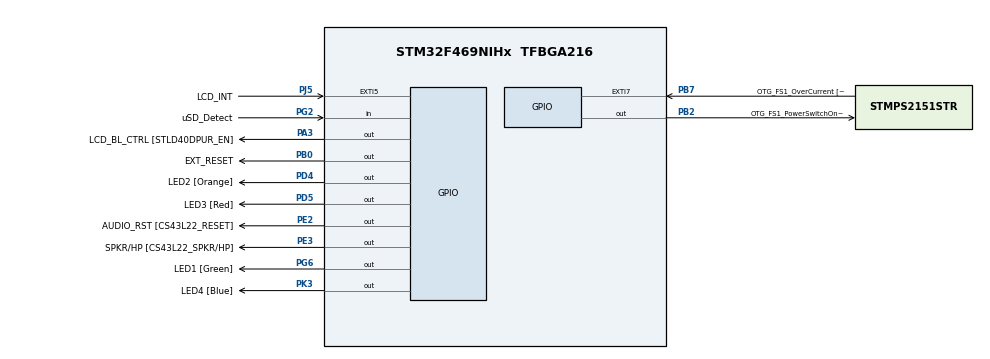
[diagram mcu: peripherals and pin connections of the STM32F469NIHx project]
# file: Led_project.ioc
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DSIHOST_CKN.GPIO_Label=DSI_CK_N
DSIHOST_CKN.Signal=DSIHOST_CKN
DSIHOST_CKP.GPIO_Label=DSI_CK_P
DSIHOST_CKP.Signal=DSIHOST_CKP
DSIHOST_D0N.GPIO_Label=DSI_D0_N
DSIHOST_D0N.Signal=DSIHOST_D0N
DSIHOST_D0P.GPIO_Label=DSI_D0_P
DSIHOST_D0P.Signal=DSIHOST_D0P
DSIHOST_D1N.GPIO_Label=DSI_D1_N
DSIHOST_D1N.Signal=DSIHOST_D1N
DSIHOST_D1P.GPIO_Label=DSI_D1_P
DSIHOST_D1P.Signal=DSIHOST_D1P
Mcu.Family=STM32F4
Mcu.Name=STM32F469NIHx
Mcu.Package=TFBGA216
NVIC.PriorityGroup=NVIC_PRIORITYGROUP_4
PA0/WKUP.GPIO_Label=WAKEUP [B2]
PA0/WKUP.Signal=SYS_WKUP
PA10.GPIO_Label=USB_FS1_ID
PA10.GPIO_Mode=GPIO_MODE_AF_PP
PA10.GPIO_PuPd=GPIO_NOPULL
PA10.GPIO_Speed=GPIO_SPEED_FREQ_VERY_HIGH
PA10.Signal=USB_OTG_FS_ID
PA11.GPIO_Label=USB_FS1_N
PA11.GPIO_Mode=GPIO_MODE_AF_PP
PA11.GPIO_PuPd=GPIO_NOPULL
PA11.GPIO_Speed=GPIO_SPEED_FREQ_VERY_HIGH
PA11.Signal=USB_OTG_FS_DM
PA12.GPIO_Label=USB_FS1_P
PA12.GPIO_Mode=GPIO_MODE_AF_PP
PA12.GPIO_PuPd=GPIO_NOPULL
PA12.GPIO_Speed=GPIO_SPEED_FREQ_VERY_HIGH
PA12.Signal=USB_OTG_FS_DP
PA13.GPIO_Label=SWDIO
PA13.Signal=SYS_JTMS-SWDIO
PA14.GPIO_Label=SWCLK
PA14.Signal=SYS_JTCK-SWCLK
PA3.GPIO_Label=LCD_BL_CTRL [STLD40DPUR_EN]
PA3.Signal=GPIO_Output
PA9.GPIO_Label=VBUS_FS1
PA9.GPIO_Mode=GPIO_MODE_AF_PP
PA9.GPIO_PuPd=GPIO_NOPULL
PA9.GPIO_Speed=GPIO_SPEED_FREQ_VERY_HIGH
PA9.Signal=USB_OTG_FS_VBUS
PB0.GPIO_Label=EXT_RESET
PB0.Signal=GPIO_Output
PB10.GPIO_Label=STLK_RX [STLINK V2-1_U2_RX]
PB10.Signal=USART3_TX
PB11.GPIO_Label=STLK_TX [STLINK V2-1_U2_TX]
PB11.Signal=USART3_RX
PB2/BOOT1.GPIO_Label=OTG_FS1_PowerSwitchOn [STMPS2151STR_En]
PB2/BOOT1.Signal=GPIO_Output
PB3.GPIO_Label=I2S3_CK
PB3.GPIO_Mode=GPIO_MODE_AF_PP
PB3.GPIO_PuPd=GPIO_NOPULL
PB3.GPIO_Speed=GPIO_SPEED_FREQ_LOW
PB3.Signal=I2S3_CK
PB6.GPIO_Label=QSPI_BK1_NCS [N25Q128A13EF840F_S]
PB6.GPIO_Mode=GPIO_MODE_AF_PP
PB6.GPIO_PuPd=GPIO_NOPULL
PB6.GPIO_Speed=GPIO_SPEED_FREQ_VERY_HIGH
PB6.Signal=QUADSPI_BK1_NCS
PB7.GPIO_Label=OTG_FS1_OverCurrent [STMPS2151STR_FAULT]
PB7.GPIO_ModeDefaultEXTI=GPIO_MODE_IT_RISING
PB7.GPIO_PuPd=GPIO_NOPULL
PB7.Signal=GPXTI7
PB8.GPIO_Label=I2C1_SCL
PB8.GPIO_Mode=GPIO_MODE_AF_OD
PB8.GPIO_PuPdOD=GPIO_PULLUP
PB8.GPIO_Speed=GPIO_SPEED_FREQ_VERY_HIGH
PB8.Signal=I2C1_SCL
PB9.GPIO_Label=I2C1_SDA
PB9.GPIO_Mode=GPIO_MODE_AF_OD
PB9.GPIO_PuPdOD=GPIO_PULLUP
PB9.GPIO_Speed=GPIO_SPEED_FREQ_VERY_HIGH
PB9.Signal=I2C1_SDA
PC0.GPIO_Label=SDNWE [MT48LC4M32B2B5-6A_WE]
PC0.Signal=FMC_SDNWE
PC10.GPIO_Label=uSD_D2
PC10.GPIO_Mode=GPIO_MODE_AF_PP
PC10.GPIO_PuPd=GPIO_NOPULL
PC10.GPIO_Speed_High_Default=GPIO_SPEED_FREQ_VERY_HIGH
PC10.Signal=SDIO_D2
PC11.GPIO_Label=uSD_D3
PC11.GPIO_Mode=GPIO_MODE_AF_PP
PC11.GPIO_PuPd=GPIO_NOPULL
PC11.GPIO_Speed_High_Default=GPIO_SPEED_FREQ_VERY_HIGH
PC11.Signal=SDIO_D3
PC12.GPIO_Label=uSD_CLK
PC12.GPIO_Mode=GPIO_MODE_AF_PP
PC12.GPIO_PuPd=GPIO_NOPULL
PC12.GPIO_Speed_High_Default=GPIO_SPEED_FREQ_VERY_HIGH
PC12.Signal=SDIO_CK
PC14/OSC32_IN.Signal=RCC_OSC32_IN
PC15/OSC32_OUT.Signal=RCC_OSC32_OUT
PC8.GPIO_Label=uSD_D0
PC8.GPIO_Mode=GPIO_MODE_AF_PP
PC8.GPIO_PuPd=GPIO_NOPULL
PC8.GPIO_Speed_High_Default=GPIO_SPEED_FREQ_VERY_HIGH
PC8.Signal=SDIO_D0
PC9.GPIO_Label=uSD_D1
PC9.GPIO_Mode=GPIO_MODE_AF_PP
PC9.GPIO_PuPd=GPIO_NOPULL
PC9.GPIO_Speed_High_Default=GPIO_SPEED_FREQ_VERY_HIGH
PC9.Signal=SDIO_D1
PD0.GPIO_Label=D2
PD0.GPIO_Mode=GPIO_MODE_AF_PP
PD0.GPIO_PuPd=GPIO_NOPULL
PD0.GPIO_Speed_High_Default=GPIO_SPEED_FREQ_VERY_HIGH
PD0.Signal=FMC_D2_DA2
PD1.GPIO_Label=D3
PD1.GPIO_Mode=GPIO_MODE_AF_PP
PD1.GPIO_PuPd=GPIO_NOPULL
PD1.GPIO_Speed_High_Default=GPIO_SPEED_FREQ_VERY_HIGH
PD1.Signal=FMC_D3_DA3
PD10.GPIO_Label=D15
PD10.Signal=FMC_D15_DA15
PD13.GPIO_Label=MIC_CK [MP34DT01TR_CLK]
PD13.Signal=S_TIM4_CH2
PD14.GPIO_Label=D0
PD14.Signal=FMC_D0_DA0
PD15.GPIO_Label=D1
PD15.Signal=FMC_D1_DA1
PD2.GPIO_Label=uSD_CMD
PD2.GPIO_Mode=GPIO_MODE_AF_PP
PD2.GPIO_PuPd=GPIO_NOPULL
PD2.GPIO_Speed_High_Default=GPIO_SPEED_FREQ_VERY_HIGH
PD2.Signal=SDIO_CMD
PD4.GPIO_Label=LED2 [Orange]
PD4.GPIO_ModeDefaultOutputPP=GPIO_MODE_OUTPUT_OD
PD4.GPIO_PuPd=GPIO_NOPULL
PD4.GPIO_Speed=GPIO_SPEED_FREQ_LOW
PD4.Signal=GPIO_Output
PD5.GPIO_Label=LED3 [Red]
PD5.GPIO_ModeDefaultOutputPP=GPIO_MODE_OUTPUT_OD
PD5.GPIO_PuPd=GPIO_NOPULL
PD5.GPIO_Speed=GPIO_SPEED_FREQ_LOW
PD5.Signal=GPIO_Output
PD6.GPIO_Label=MIC_DATA [MP34DT01TR_DOUT]
PD6.GPIO_Mode=GPIO_MODE_AF_PP
PD6.GPIO_PuPd=GPIO_NOPULL
PD6.GPIO_Speed=GPIO_SPEED_FREQ_LOW
PD6.Signal=SAI1_SD_A
PD8.GPIO_Label=D13
PD8.Signal=FMC_D13_DA13
PD9.GPIO_Label=D14
PD9.Signal=FMC_D14_DA14
PE0.GPIO_Label=FMC_NBL0 [ MT48LC4M32B2B5-6A_DQM0]
PE0.GPIO_Mode=GPIO_MODE_AF_PP
PE0.GPIO_PuPd=GPIO_NOPULL
PE0.GPIO_Speed_High_Default=GPIO_SPEED_FREQ_VERY_HIGH
PE0.Signal=FMC_NBL0
PE1.GPIO_Label=FMC_NBL1 [ MT48LC4M32B2B5-6A_DQM1]
PE1.GPIO_Mode=GPIO_MODE_AF_PP
PE1.GPIO_PuPd=GPIO_NOPULL
PE1.GPIO_Speed_High_Default=GPIO_SPEED_FREQ_VERY_HIGH
PE1.Signal=FMC_NBL1
PE10.GPIO_Label=D7
PE10.Signal=FMC_D7_DA7
PE11.GPIO_Label=D8
PE11.Signal=FMC_D8_DA8
PE12.GPIO_Label=D9
PE12.Signal=FMC_D9_DA9
PE13.GPIO_Label=D10
PE13.Signal=FMC_D10_DA10
PE14.GPIO_Label=D11
PE14.Signal=FMC_D11_DA11
PE15.GPIO_Label=D12
PE15.Signal=FMC_D12_DA12
PE2.GPIO_Label=AUDIO_RST [CS43L22_RESET]
PE2.GPIO_ModeDefaultOutputPP=GPIO_MODE_OUTPUT_PP
PE2.GPIO_PuPd=GPIO_NOPULL
PE2.GPIO_Speed=GPIO_SPEED_FREQ_LOW
PE2.Signal=GPIO_Output
PE3.GPIO_Label=SPKR/HP [CS43L22_SPKR/HP]
PE3.GPIO_ModeDefaultOutputPP=GPIO_MODE_OUTPUT_PP
PE3.GPIO_PuPd=GPIO_NOPULL
PE3.GPIO_Speed=GPIO_SPEED_FREQ_LOW
PE3.Signal=GPIO_Output
PE4.GPIO_Label=SAI1_FSA [CS43L22_LRCK]
PE4.GPIO_Mode=GPIO_MODE_AF_PP
PE4.GPIO_PuPd=GPIO_NOPULL
PE4.GPIO_Speed=GPIO_SPEED_FREQ_LOW
PE4.Signal=SAI1_FS_A
PE5.GPIO_Label=SAI1_SCKA [CS43L22_CLK]
PE5.GPIO_Mode=GPIO_MODE_AF_PP
PE5.GPIO_PuPd=GPIO_NOPULL
PE5.GPIO_Speed=GPIO_SPEED_FREQ_LOW
PE5.Signal=SAI1_SCK_A
PE7.GPIO_Label=D4
PE7.Signal=FMC_D4_DA4
PE8.GPIO_Label=D5
PE8.Signal=FMC_D5_DA5
PE9.GPIO_Label=D6
PE9.Signal=FMC_D6_DA6
PF0.GPIO_Label=A0
PF0.GPIO_Mode=GPIO_MODE_AF_PP
PF0.GPIO_PuPd=GPIO_NOPULL
PF0.GPIO_Speed_High_Default=GPIO_SPEED_FREQ_VERY_HIGH
PF0.Signal=FMC_A0
PF1.GPIO_Label=A1
PF1.GPIO_Mode=GPIO_MODE_AF_PP
PF1.GPIO_PuPd=GPIO_NOPULL
PF1.GPIO_Speed_High_Default=GPIO_SPEED_FREQ_VERY_HIGH
PF1.Signal=FMC_A1
PF10.GPIO_Label=QSPI_CLK [N25Q128A13EF840F_C]
PF10.Signal=QUADSPI_CLK
PF11.GPIO_Label=SDNMT48LC4M32B2B5-6A_RAS]RAS [
PF11.Signal=FMC_SDNRAS
PF12.GPIO_Label=A6
PF12.Signal=FMC_A6
PF13.GPIO_Label=A7
PF13.Signal=FMC_A7
PF14.GPIO_Label=A8
PF14.Signal=FMC_A8
PF15.GPIO_Label=A9
PF15.Signal=FMC_A9
PF2.GPIO_Label=A2
PF2.GPIO_Mode=GPIO_MODE_AF_PP
PF2.GPIO_PuPd=GPIO_NOPULL
PF2.GPIO_Speed_High_Default=GPIO_SPEED_FREQ_VERY_HIGH
PF2.Signal=FMC_A2
PF3.GPIO_Label=A3
PF3.GPIO_Mode=GPIO_MODE_AF_PP
PF3.GPIO_PuPd=GPIO_NOPULL
PF3.GPIO_Speed_High_Default=GPIO_SPEED_FREQ_VERY_HIGH
PF3.Signal=FMC_A3
PF4.GPIO_Label=A4
PF4.GPIO_Mode=GPIO_MODE_AF_PP
PF4.GPIO_PuPd=GPIO_NOPULL
PF4.GPIO_Speed_High_Default=GPIO_SPEED_FREQ_VERY_HIGH
PF4.Signal=FMC_A4
PF5.GPIO_Label=A5
PF5.Signal=FMC_A5
PF6.GPIO_Label=QSPI_BK1_IO3 [N25Q128A13EF840F_DQ3]
PF6.Signal=QUADSPI_BK1_IO3
PF7.GPIO_Label=QSPI_BK1_IO2 [N25Q128A13EF840F_DQ2]
PF7.Signal=QUADSPI_BK1_IO2
PF8.GPIO_Label=QSPI_BK1_IO0 [N25Q128A13EF840F_DQ0]
PF8.Signal=QUADSPI_BK1_IO0
PF9.GPIO_Label=QSPI_BK1_IO1 [N25Q128A13EF840F_DQ1]
PF9.Signal=QUADSPI_BK1_IO1
PG0.GPIO_Label=A10
PG0.Signal=FMC_A10
PG1.GPIO_Label=A11
PG1.Signal=FMC_A11
PG14.GPIO_Label=ARDUINO USART6_TX
PG14.GPIO_Mode=GPIO_MODE_AF_PP
PG14.GPIO_PuPd=GPIO_NOPULL
PG14.GPIO_Speed=GPIO_SPEED_FREQ_VERY_HIGH
PG14.Signal=USART6_TX
PG15.GPIO_Label=SDNCAS [MT48LC4M32B2B5-6A_CAS]
PG15.GPIO_Mode=GPIO_MODE_AF_PP
PG15.GPIO_PuPd=GPIO_NOPULL
PG15.GPIO_Speed_High_Default=GPIO_SPEED_FREQ_VERY_HIGH
PG15.Signal=FMC_SDNCAS
PG2.GPIO_Label=uSD_Detect
PG2.Signal=GPIO_Input
PG4.Signal=FMC_A14_BA0
PG5.Signal=FMC_A15_BA1
PG6.GPIO_Label=LED1 [Green]
PG6.GPIO_ModeDefaultOutputPP=GPIO_MODE_OUTPUT_PP
PG6.GPIO_PuPd=GPIO_NOPULL
PG6.GPIO_Speed=GPIO_SPEED_FREQ_HIGH
PG6.Signal=GPIO_Output
PG7.GPIO_Label=SAI1_MCLKA [CS43L22_MCLK]
PG7.GPIO_Mode=GPIO_MODE_AF_PP
PG7.GPIO_PuPd=GPIO_NOPULL
PG7.GPIO_Speed=GPIO_SPEED_FREQ_LOW
PG7.Signal=SAI1_MCLK_A
PG8.GPIO_Label=SDCLK [MT48LC4M32B2B5-6A_CLK]
PG8.GPIO_Mode=GPIO_MODE_AF_PP
PG8.GPIO_PuPd=GPIO_NOPULL
PG8.GPIO_Speed_High_Default=GPIO_SPEED_FREQ_VERY_HIGH
PG8.Signal=FMC_SDCLK
PG9.GPIO_Label=USART6_RX
PG9.GPIO_Mode=GPIO_MODE_AF_PP
PG9.GPIO_PuPd=GPIO_NOPULL
PG9.GPIO_Speed=GPIO_SPEED_FREQ_VERY_HIGH
PG9.Signal=USART6_RX
PH0/OSC_IN.Signal=RCC_OSC_IN
PH1/OSC_OUT.Signal=RCC_OSC_OUT
PH10.GPIO_Label=D18
PH10.Signal=FMC_D18
PH11.GPIO_Label=D19
PH11.Signal=FMC_D19
PH12.GPIO_Label=D20
PH12.Signal=FMC_D20
PH13.GPIO_Label=D21
PH13.GPIO_Mode=GPIO_MODE_AF_PP
PH13.GPIO_PuPd=GPIO_NOPULL
PH13.GPIO_Speed_High_Default=GPIO_SPEED_FREQ_VERY_HIGH
PH13.Signal=FMC_D21
PH14.GPIO_Label=D22
PH14.GPIO_Mode=GPIO_MODE_AF_PP
PH14.GPIO_PuPd=GPIO_NOPULL
PH14.GPIO_Speed_High_Default=GPIO_SPEED_FREQ_VERY_HIGH
PH14.Signal=FMC_D22
PH15.GPIO_Label=D23
PH15.GPIO_Mode=GPIO_MODE_AF_PP
PH15.GPIO_PuPd=GPIO_NOPULL
PH15.GPIO_Speed_High_Default=GPIO_SPEED_FREQ_VERY_HIGH
PH15.Signal=FMC_D23
PH2.GPIO_Label=SDCKE0 [MT48LC4M32B2B5-6A_CKE]
PH2.Signal=FMC_SDCKE0
PH3.GPIO_Label=SDNE0 [MT48LC4M32B2B5-6A_CS]
PH3.GPIO_Mode=GPIO_MODE_AF_PP
PH3.GPIO_PuPd=GPIO_NOPULL
PH3.GPIO_Speed_High_Default=GPIO_SPEED_FREQ_VERY_HIGH
PH3.Signal=FMC_SDNE0
PH4.GPIO_Label=I2C2_SCL [CS43L22_SCL]
PH4.GPIO_Mode=GPIO_MODE_AF_OD
PH4.GPIO_PuPdOD=GPIO_PULLUP
PH4.GPIO_Speed=GPIO_SPEED_FREQ_VERY_HIGH
PH4.Signal=I2C2_SCL
PH5.GPIO_Label=I2C2_SDA [CS43L22_SDA]
PH5.GPIO_Mode=GPIO_MODE_AF_OD
PH5.GPIO_PuPdOD=GPIO_PULLUP
PH5.GPIO_Speed=GPIO_SPEED_FREQ_VERY_HIGH
PH5.Signal=I2C2_SDA
PH8.GPIO_Label=D16
PH8.Signal=FMC_D16
PH9.GPIO_Label=D17
PH9.Signal=FMC_D17
PI0.GPIO_Label=D24
PI0.GPIO_Mode=GPIO_MODE_AF_PP
PI0.GPIO_PuPd=GPIO_NOPULL
PI0.GPIO_Speed_High_Default=GPIO_SPEED_FREQ_VERY_HIGH
PI0.Signal=FMC_D24
PI1.GPIO_Label=D25
PI1.GPIO_Mode=GPIO_MODE_AF_PP
PI1.GPIO_PuPd=GPIO_NOPULL
PI1.GPIO_Speed_High_Default=GPIO_SPEED_FREQ_VERY_HIGH
PI1.Signal=FMC_D25
PI10.GPIO_Label=D31
PI10.GPIO_Mode=GPIO_MODE_AF_PP
PI10.GPIO_PuPd=GPIO_NOPULL
PI10.GPIO_Speed_High_Default=GPIO_SPEED_FREQ_VERY_HIGH
PI10.Signal=FMC_D31
PI2.GPIO_Label=D26
PI2.GPIO_Mode=GPIO_MODE_AF_PP
PI2.GPIO_PuPd=GPIO_NOPULL
PI2.GPIO_Speed_High_Default=GPIO_SPEED_FREQ_VERY_HIGH
PI2.Signal=FMC_D26
PI3.GPIO_Label=D27
PI3.GPIO_Mode=GPIO_MODE_AF_PP
PI3.GPIO_PuPd=GPIO_NOPULL
PI3.GPIO_Speed_High_Default=GPIO_SPEED_FREQ_VERY_HIGH
PI3.Signal=FMC_D27
PI4.GPIO_Label=FMC_NBL2 [MT48LC4M32B2B5-6A_DQM2]
PI4.GPIO_Mode=GPIO_MODE_AF_PP
PI4.GPIO_PuPd=GPIO_NOPULL
PI4.GPIO_Speed_High_Default=GPIO_SPEED_FREQ_VERY_HIGH
PI4.Signal=FMC_NBL2
PI5.GPIO_Label=FMC_NBL3 [MT48LC4M32B2B5-6A_DQM3]
PI5.GPIO_Mode=GPIO_MODE_AF_PP
PI5.GPIO_PuPd=GPIO_NOPULL
PI5.GPIO_Speed_High_Default=GPIO_SPEED_FREQ_VERY_HIGH
PI5.Signal=FMC_NBL3
PI6.GPIO_Label=D28
PI6.GPIO_Mode=GPIO_MODE_AF_PP
PI6.GPIO_PuPd=GPIO_NOPULL
PI6.GPIO_Speed_High_Default=GPIO_SPEED_FREQ_VERY_HIGH
PI6.Signal=FMC_D28
PI7.GPIO_Label=D29
PI7.GPIO_Mode=GPIO_MODE_AF_PP
PI7.GPIO_PuPd=GPIO_NOPULL
PI7.GPIO_Speed_High_Default=GPIO_SPEED_FREQ_VERY_HIGH
PI7.Signal=FMC_D29
PI9.GPIO_Label=D30
PI9.GPIO_Mode=GPIO_MODE_AF_PP
PI9.GPIO_PuPd=GPIO_NOPULL
PI9.GPIO_Speed_High_Default=GPIO_SPEED_FREQ_VERY_HIGH
PI9.Signal=FMC_D30
PJ2.GPIO_Label=DSI_TE
PJ2.Signal=DSIHOST_TE
PJ5.GPIO_Label=LCD_INT
PJ5.Signal=GPXTI5
PK3.GPIO_Label=LED4 [Blue]
PK3.GPIO_ModeDefaultOutputPP=GPIO_MODE_OUTPUT_OD
PK3.GPIO_PuPd=GPIO_NOPULL
PK3.GPIO_Speed=GPIO_SPEED_FREQ_LOW
PK3.Signal=GPIO_Output
ProjectManager.HeapSize=0x200
ProjectManager.StackSize=0x400
ProjectManager.TargetToolchain=STM32CubeIDE
RCC.CortexFreq_Value=16000000
RCC.VCOOutputFreq_Value=192000000
SH.FMC_A0.0=FMC_A0
SH.FMC_A1.0=FMC_A1
SH.FMC_A10.0=FMC_A10
SH.FMC_A11.0=FMC_A11
SH.FMC_A14_BA0.0=FMC_BA0
SH.FMC_A15_BA1.0=FMC_BA1
SH.FMC_A2.0=FMC_A2
SH.FMC_A3.0=FMC_A3
SH.FMC_A4.0=FMC_A4
SH.FMC_A5.0=FMC_A5
SH.FMC_A6.0=FMC_A6
SH.FMC_A7.0=FMC_A7
SH.FMC_A8.0=FMC_A8
SH.FMC_A9.0=FMC_A9
SH.FMC_D0_DA0.0=FMC_D0
SH.FMC_D10_DA10.0=FMC_D10
SH.FMC_D11_DA11.0=FMC_D11
SH.FMC_D12_DA12.0=FMC_D12
SH.FMC_D13_DA13.0=FMC_D13
SH.FMC_D14_DA14.0=FMC_D14
SH.FMC_D15_DA15.0=FMC_D15
SH.FMC_D16.0=FMC_D16
SH.FMC_D17.0=FMC_D17
SH.FMC_D18.0=FMC_D18
SH.FMC_D19.0=FMC_D19
SH.FMC_D1_DA1.0=FMC_D1
SH.FMC_D20.0=FMC_D20
SH.FMC_D21.0=FMC_D21
SH.FMC_D22.0=FMC_D22
SH.FMC_D23.0=FMC_D23
SH.FMC_D24.0=FMC_D24
SH.FMC_D25.0=FMC_D25
SH.FMC_D26.0=FMC_D26
SH.FMC_D27.0=FMC_D27
SH.FMC_D28.0=FMC_D28
SH.FMC_D29.0=FMC_D29
SH.FMC_D2_DA2.0=FMC_D2
SH.FMC_D30.0=FMC_D30
SH.FMC_D31.0=FMC_D31
SH.FMC_D3_DA3.0=FMC_D3
SH.FMC_D4_DA4.0=FMC_D4
SH.FMC_D5_DA5.0=FMC_D5
SH.FMC_D6_DA6.0=FMC_D6
SH.FMC_D7_DA7.0=FMC_D7
SH.FMC_D8_DA8.0=FMC_D8
SH.FMC_D9_DA9.0=FMC_D9
SH.FMC_NBL0.0=FMC_NBL0
SH.FMC_NBL1.0=FMC_NBL1
SH.FMC_NBL2.0=FMC_NBL2
SH.FMC_NBL3.0=FMC_NBL3
SH.FMC_SDCLK.0=FMC_SDCLK
SH.FMC_SDNCAS.0=FMC_SDNCAS
SH.FMC_SDNRAS.0=FMC_SDNRAS
SH.FMC_SDNWE.0=FMC_SDNWE
SH.S_TIM4_CH2.0=TIM4_CH2
board=STM32F469I-DISCO

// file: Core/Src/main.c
/* USER CODE BEGIN Header */
/**
  ******************************************************************************
  * @file           : main.c
  * @brief          : Main program body
  ******************************************************************************
  * @attention
  *
  * Copyright (c) 2022 STMicroelectronics.
  * All rights reserved.
  *
  * This software is licensed under terms that can be found in the LICENSE file
  * in the root directory of this software component.
  * If no LICENSE file comes with this software, it is provided AS-IS.
  *
  ******************************************************************************
  */
/* USER CODE END Header */
#include "main.h"

void SystemClock_Config(void);
static void MX_GPIO_Init(void);

int main(void)
{

  /* MCU Configuration--------------------------------------------------------*/

  /* Reset of all peripherals, Initializes the Flash interface and the Systick. */
  HAL_Init();

  /* Configure the system clock */
  SystemClock_Config();

  /* Initialize all configured peripherals */
  MX_GPIO_Init();

  /* Infinite loop */
  while (1)
  {

    /* USER CODE BEGIN 3 */
	  HAL_GPIO_WritePin(LED1_GPIO_Port, LED1_Pin, GPIO_PIN_SET);
	  HAL_Delay(35);
	  HAL_GPIO_WritePin(LED1_GPIO_Port, LED1_Pin, GPIO_PIN_RESET);
	  HAL_Delay(35);

	  	  HAL_GPIO_WritePin(GPIOD, LED2_Pin, GPIO_PIN_SET);
	  	  HAL_Delay(40);
	  	  HAL_GPIO_WritePin(GPIOD, LED2_Pin, GPIO_PIN_RESET);
	  	  HAL_Delay(40);

	      HAL_GPIO_WritePin(GPIOD, LED3_Pin, GPIO_PIN_SET);
		  HAL_Delay(35);
		  HAL_GPIO_WritePin(GPIOD, LED3_Pin, GPIO_PIN_RESET);
		  HAL_Delay(35);

			  HAL_GPIO_WritePin(LED4_GPIO_Port, LED4_Pin, GPIO_PIN_SET);
			  HAL_Delay(40);
			  HAL_GPIO_WritePin(LED4_GPIO_Port, LED4_Pin, GPIO_PIN_RESET);
			  HAL_Delay(40);

  }
  /* USER CODE END 3 */
}

void SystemClock_Config(void)
{
  RCC_OscInitTypeDef RCC_OscInitStruct = {0};
  RCC_ClkInitTypeDef RCC_ClkInitStruct = {0};

  /** Configure the main internal regulator output voltage
  */
  __HAL_RCC_PWR_CLK_ENABLE();
  __HAL_PWR_VOLTAGESCALING_CONFIG(PWR_REGULATOR_VOLTAGE_SCALE3);

  /** Initializes the RCC Oscillators according to the specified parameters
  * in the RCC_OscInitTypeDef structure.
  */
  RCC_OscInitStruct.OscillatorType = RCC_OSCILLATORTYPE_HSI;
  RCC_OscInitStruct.HSIState = RCC_HSI_ON;
  RCC_OscInitStruct.HSICalibrationValue = RCC_HSICALIBRATION_DEFAULT;
  RCC_OscInitStruct.PLL.PLLState = RCC_PLL_NONE;
  if (HAL_RCC_OscConfig(&RCC_OscInitStruct) != HAL_OK)
  {
    Error_Handler();
  }

  /** Initializes the CPU, AHB and APB buses clocks
  */
  RCC_ClkInitStruct.ClockType = RCC_CLOCKTYPE_HCLK|RCC_CLOCKTYPE_SYSCLK
                              |RCC_CLOCKTYPE_PCLK1|RCC_CLOCKTYPE_PCLK2;
  RCC_ClkInitStruct.SYSCLKSource = RCC_SYSCLKSOURCE_HSI;
  RCC_ClkInitStruct.AHBCLKDivider = RCC_SYSCLK_DIV1;
  RCC_ClkInitStruct.APB1CLKDivider = RCC_HCLK_DIV1;
  RCC_ClkInitStruct.APB2CLKDivider = RCC_HCLK_DIV1;

  if (HAL_RCC_ClockConfig(&RCC_ClkInitStruct, FLASH_LATENCY_0) != HAL_OK)
  {
    Error_Handler();
  }
}

static void MX_GPIO_Init(void)
{
  GPIO_InitTypeDef GPIO_InitStruct = {0};

  /* GPIO Ports Clock Enable */
  __HAL_RCC_GPIOE_CLK_ENABLE();
  __HAL_RCC_GPIOG_CLK_ENABLE();
  __HAL_RCC_GPIOB_CLK_ENABLE();
  __HAL_RCC_GPIOC_CLK_ENABLE();
  __HAL_RCC_GPIOA_CLK_ENABLE();
  __HAL_RCC_GPIOD_CLK_ENABLE();
  __HAL_RCC_GPIOI_CLK_ENABLE();
  __HAL_RCC_GPIOF_CLK_ENABLE();
  __HAL_RCC_GPIOK_CLK_ENABLE();
  __HAL_RCC_GPIOH_CLK_ENABLE();
  __HAL_RCC_GPIOJ_CLK_ENABLE();

  /*Configure GPIO pin Output Level */
  HAL_GPIO_WritePin(GPIOE, SPKR_HP_Pin|AUDIO_RST_Pin, GPIO_PIN_RESET);

  /*Configure GPIO pin Output Level */
  HAL_GPIO_WritePin(GPIOD, LED3_Pin|LED2_Pin, GPIO_PIN_RESET);

  /*Configure GPIO pin Output Level */
  HAL_GPIO_WritePin(LED4_GPIO_Port, LED4_Pin, GPIO_PIN_RESET);

  /*Configure GPIO pin Output Level */
  HAL_GPIO_WritePin(LED1_GPIO_Port, LED1_Pin, GPIO_PIN_RESET);

  /*Configure GPIO pin Output Level */
  HAL_GPIO_WritePin(GPIOB, OTG_FS1_PowerSwitchOn_Pin|EXT_RESET_Pin, GPIO_PIN_RESET);

  /*Configure GPIO pin Output Level */
  HAL_GPIO_WritePin(LCD_BL_CTRL_GPIO_Port, LCD_BL_CTRL_Pin, GPIO_PIN_RESET);

  /*Configure GPIO pins : SAI1_FSA_Pin SAI1_SCKA_Pin */
  GPIO_InitStruct.Pin = SAI1_FSA_Pin|SAI1_SCKA_Pin;
  GPIO_InitStruct.Mode = GPIO_MODE_AF_PP;
  GPIO_InitStruct.Pull = GPIO_NOPULL;
  GPIO_InitStruct.Speed = GPIO_SPEED_FREQ_LOW;
  GPIO_InitStruct.Alternate = GPIO_AF6_SAI1;
  HAL_GPIO_Init(GPIOE, &GPIO_InitStruct);

  /*Configure GPIO pins : SPKR_HP_Pin AUDIO_RST_Pin */
  GPIO_InitStruct.Pin = SPKR_HP_Pin|AUDIO_RST_Pin;
  GPIO_InitStruct.Mode = GPIO_MODE_OUTPUT_PP;
  GPIO_InitStruct.Pull = GPIO_NOPULL;
  GPIO_InitStruct.Speed = GPIO_SPEED_FREQ_LOW;
  HAL_GPIO_Init(GPIOE, &GPIO_InitStruct);

  /*Configure GPIO pins : ARDUINO_USART6_TX_Pin USART6_RX_Pin */
  GPIO_InitStruct.Pin = ARDUINO_USART6_TX_Pin|USART6_RX_Pin;
  GPIO_InitStruct.Mode = GPIO_MODE_AF_PP;
  GPIO_InitStruct.Pull = GPIO_NOPULL;
  GPIO_InitStruct.Speed = GPIO_SPEED_FREQ_VERY_HIGH;
  GPIO_InitStruct.Alternate = GPIO_AF8_USART6;
  HAL_GPIO_Init(GPIOG, &GPIO_InitStruct);

  /*Configure GPIO pins : FMC_NBL1_Pin FMC_NBL0_Pin D5_Pin D6_Pin
                           D8_Pin D11_Pin D4_Pin D7_Pin
                           D9_Pin D12_Pin D10_Pin */
  GPIO_InitStruct.Pin = FMC_NBL1_Pin|FMC_NBL0_Pin|D5_Pin|D6_Pin
                          |D8_Pin|D11_Pin|D4_Pin|D7_Pin
                          |D9_Pin|D12_Pin|D10_Pin;
  GPIO_InitStruct.Mode = GPIO_MODE_AF_PP;
  GPIO_InitStruct.Pull = GPIO_NOPULL;
  GPIO_InitStruct.Speed = GPIO_SPEED_FREQ_VERY_HIGH;
  GPIO_InitStruct.Alternate = GPIO_AF12_FMC;
  HAL_GPIO_Init(GPIOE, &GPIO_InitStruct);

  /*Configure GPIO pins : I2C1_SCL_Pin I2C1_SDA_Pin */
  GPIO_InitStruct.Pin = I2C1_SCL_Pin|I2C1_SDA_Pin;
  GPIO_InitStruct.Mode = GPIO_MODE_AF_OD;
  GPIO_InitStruct.Pull = GPIO_NOPULL;
  GPIO_InitStruct.Speed = GPIO_SPEED_FREQ_VERY_HIGH;
  GPIO_InitStruct.Alternate = GPIO_AF4_I2C1;
  HAL_GPIO_Init(GPIOB, &GPIO_InitStruct);

  /*Configure GPIO pin : I2S3_CK_Pin */
  GPIO_InitStruct.Pin = I2S3_CK_Pin;
  GPIO_InitStruct.Mode = GPIO_MODE_AF_PP;
  GPIO_InitStruct.Pull = GPIO_NOPULL;
  GPIO_InitStruct.Speed = GPIO_SPEED_FREQ_LOW;
  GPIO_InitStruct.Alternate = GPIO_AF6_SPI3;
  HAL_GPIO_Init(I2S3_CK_GPIO_Port, &GPIO_InitStruct);

  /*Configure GPIO pins : uSD_CLK_Pin uSD_D3_Pin uSD_D2_Pin uSD_D1_Pin
                           uSD_D0_Pin */
  GPIO_InitStruct.Pin = uSD_CLK_Pin|uSD_D3_Pin|uSD_D2_Pin|uSD_D1_Pin
                          |uSD_D0_Pin;
  GPIO_InitStruct.Mode = GPIO_MODE_AF_PP;
  GPIO_InitStruct.Pull = GPIO_NOPULL;
  GPIO_InitStruct.Speed = GPIO_SPEED_FREQ_VERY_HIGH;
  GPIO_InitStruct.Alternate = GPIO_AF12_SDIO;
  HAL_GPIO_Init(GPIOC, &GPIO_InitStruct);

  /*Configure GPIO pin : OTG_FS1_OverCurrent_Pin */
  GPIO_InitStruct.Pin = OTG_FS1_OverCurrent_Pin;
  GPIO_InitStruct.Mode = GPIO_MODE_IT_RISING;
  GPIO_InitStruct.Pull = GPIO_NOPULL;
  HAL_GPIO_Init(OTG_FS1_OverCurrent_GPIO_Port, &GPIO_InitStruct);

  /*Configure GPIO pin : QSPI_BK1_NCS_Pin */
  GPIO_InitStruct.Pin = QSPI_BK1_NCS_Pin;
  GPIO_InitStruct.Mode = GPIO_MODE_AF_PP;
  GPIO_InitStruct.Pull = GPIO_NOPULL;
  GPIO_InitStruct.Speed = GPIO_SPEED_FREQ_VERY_HIGH;
  GPIO_InitStruct.Alternate = GPIO_AF10_QSPI;
  HAL_GPIO_Init(QSPI_BK1_NCS_GPIO_Port, &GPIO_InitStruct);

  /*Configure GPIO pins : SDNCAS_Pin SDCLK_Pin A11_Pin A10_Pin
                           PG5 PG4 */
  GPIO_InitStruct.Pin = SDNCAS_Pin|SDCLK_Pin|A11_Pin|A10_Pin
                          |GPIO_PIN_5|GPIO_PIN_4;
  GPIO_InitStruct.Mode = GPIO_MODE_AF_PP;
  GPIO_InitStruct.Pull = GPIO_NOPULL;
  GPIO_InitStruct.Speed = GPIO_SPEED_FREQ_VERY_HIGH;
  GPIO_InitStruct.Alternate = GPIO_AF12_FMC;
  HAL_GPIO_Init(GPIOG, &GPIO_InitStruct);

  /*Configure GPIO pin : MIC_DATA_Pin */
  GPIO_InitStruct.Pin = MIC_DATA_Pin;
  GPIO_InitStruct.Mode = GPIO_MODE_AF_PP;
  GPIO_InitStruct.Pull = GPIO_NOPULL;
  GPIO_InitStruct.Speed = GPIO_SPEED_FREQ_LOW;
  GPIO_InitStruct.Alternate = GPIO_AF6_SAI1;
  HAL_GPIO_Init(MIC_DATA_GPIO_Port, &GPIO_InitStruct);

  /*Configure GPIO pins : D2_Pin D3_Pin D1_Pin D15_Pin
                           D0_Pin D14_Pin D13_Pin */
  GPIO_InitStruct.Pin = D2_Pin|D3_Pin|D1_Pin|D15_Pin
                          |D0_Pin|D14_Pin|D13_Pin;
  GPIO_InitStruct.Mode = GPIO_MODE_AF_PP;
  GPIO_InitStruct.Pull = GPIO_NOPULL;
  GPIO_InitStruct.Speed = GPIO_SPEED_FREQ_VERY_HIGH;
  GPIO_InitStruct.Alternate = GPIO_AF12_FMC;
  HAL_GPIO_Init(GPIOD, &GPIO_InitStruct);

  /*Configure GPIO pins : USB_FS1_P_Pin USB_FS1_N_Pin USB_FS1_ID_Pin */
  GPIO_InitStruct.Pin = USB_FS1_P_Pin|USB_FS1_N_Pin|USB_FS1_ID_Pin;
  GPIO_InitStruct.Mode = GPIO_MODE_AF_PP;
  GPIO_InitStruct.Pull = GPIO_NOPULL;
  GPIO_InitStruct.Speed = GPIO_SPEED_FREQ_VERY_HIGH;
  GPIO_InitStruct.Alternate = GPIO_AF10_OTG_FS;
  HAL_GPIO_Init(GPIOA, &GPIO_InitStruct);

  /*Configure GPIO pins : FMC_NBL2_Pin D27_Pin D26_Pin FMC_NBL3_Pin
                           D29_Pin D31_Pin D28_Pin D25_Pin
                           D30_Pin D24_Pin */
  GPIO_InitStruct.Pin = FMC_NBL2_Pin|D27_Pin|D26_Pin|FMC_NBL3_Pin
                          |D29_Pin|D31_Pin|D28_Pin|D25_Pin
                          |D30_Pin|D24_Pin;
  GPIO_InitStruct.Mode = GPIO_MODE_AF_PP;
  GPIO_InitStruct.Pull = GPIO_NOPULL;
  GPIO_InitStruct.Speed = GPIO_SPEED_FREQ_VERY_HIGH;
  GPIO_InitStruct.Alternate = GPIO_AF12_FMC;
  HAL_GPIO_Init(GPIOI, &GPIO_InitStruct);

  /*Configure GPIO pins : LED3_Pin LED2_Pin */
  GPIO_InitStruct.Pin = LED3_Pin|LED2_Pin;
  GPIO_InitStruct.Mode = GPIO_MODE_OUTPUT_OD;
  GPIO_InitStruct.Pull = GPIO_NOPULL;
  GPIO_InitStruct.Speed = GPIO_SPEED_FREQ_LOW;
  HAL_GPIO_Init(GPIOD, &GPIO_InitStruct);

  /*Configure GPIO pins : A0_Pin A1_Pin A2_Pin A3_Pin
                           A4_Pin A5_Pin A6_Pin A9_Pin
                           A7_Pin A8_Pin SDNMT48LC4M32B2B5_6A_RAS_RAS___Pin */
  GPIO_InitStruct.Pin = A0_Pin|A1_Pin|A2_Pin|A3_Pin
                          |A4_Pin|A5_Pin|A6_Pin|A9_Pin
                          |A7_Pin|A8_Pin|SDNMT48LC4M32B2B5_6A_RAS_RAS___Pin;
  GPIO_InitStruct.Mode = GPIO_MODE_AF_PP;
  GPIO_InitStruct.Pull = GPIO_NOPULL;
  GPIO_InitStruct.Speed = GPIO_SPEED_FREQ_VERY_HIGH;
  GPIO_InitStruct.Alternate = GPIO_AF12_FMC;
  HAL_GPIO_Init(GPIOF, &GPIO_InitStruct);

  /*Configure GPIO pin : LED4_Pin */
  GPIO_InitStruct.Pin = LED4_Pin;
  GPIO_InitStruct.Mode = GPIO_MODE_OUTPUT_OD;
  GPIO_InitStruct.Pull = GPIO_NOPULL;
  GPIO_InitStruct.Speed = GPIO_SPEED_FREQ_LOW;
  HAL_GPIO_Init(LED4_GPIO_Port, &GPIO_InitStruct);

  /*Configure GPIO pin : uSD_CMD_Pin */
  GPIO_InitStruct.Pin = uSD_CMD_Pin;
  GPIO_InitStruct.Mode = GPIO_MODE_AF_PP;
  GPIO_InitStruct.Pull = GPIO_NOPULL;
  GPIO_InitStruct.Speed = GPIO_SPEED_FREQ_VERY_HIGH;
  GPIO_InitStruct.Alternate = GPIO_AF12_SDIO;
  HAL_GPIO_Init(uSD_CMD_GPIO_Port, &GPIO_InitStruct);

  /*Configure GPIO pins : D23_Pin D21_Pin D22_Pin SDNE0_Pin
                           SDCKE0_Pin D20_Pin D17_Pin D19_Pin
                           D16_Pin D18_Pin */
  GPIO_InitStruct.Pin = D23_Pin|D21_Pin|D22_Pin|SDNE0_Pin
                          |SDCKE0_Pin|D20_Pin|D17_Pin|D19_Pin
                          |D16_Pin|D18_Pin;
  GPIO_InitStruct.Mode = GPIO_MODE_AF_PP;
  GPIO_InitStruct.Pull = GPIO_NOPULL;
  GPIO_InitStruct.Speed = GPIO_SPEED_FREQ_VERY_HIGH;
  GPIO_InitStruct.Alternate = GPIO_AF12_FMC;
  HAL_GPIO_Init(GPIOH, &GPIO_InitStruct);

  /*Configure GPIO pin : VBUS_FS1_Pin */
  GPIO_InitStruct.Pin = VBUS_FS1_Pin;
  GPIO_InitStruct.Mode = GPIO_MODE_AF_PP;
  GPIO_InitStruct.Pull = GPIO_NOPULL;
  HAL_GPIO_Init(VBUS_FS1_GPIO_Port, &GPIO_InitStruct);

  /*Configure GPIO pins : I2C2_SCL_Pin I2C2_SDA_Pin */
  GPIO_InitStruct.Pin = I2C2_SCL_Pin|I2C2_SDA_Pin;
  GPIO_InitStruct.Mode = GPIO_MODE_AF_OD;
  GPIO_InitStruct.Pull = GPIO_NOPULL;
  GPIO_InitStruct.Speed = GPIO_SPEED_FREQ_VERY_HIGH;
  GPIO_InitStruct.Alternate = GPIO_AF4_I2C2;
  HAL_GPIO_Init(GPIOH, &GPIO_InitStruct);

  /*Configure GPIO pin : SAI1_MCLKA_Pin */
  GPIO_InitStruct.Pin = SAI1_MCLKA_Pin;
  GPIO_InitStruct.Mode = GPIO_MODE_AF_PP;
  GPIO_InitStruct.Pull = GPIO_NOPULL;
  GPIO_InitStruct.Speed = GPIO_SPEED_FREQ_LOW;
  GPIO_InitStruct.Alternate = GPIO_AF6_SAI1;
  HAL_GPIO_Init(SAI1_MCLKA_GPIO_Port, &GPIO_InitStruct);

  /*Configure GPIO pin : LED1_Pin */
  GPIO_InitStruct.Pin = LED1_Pin;
  GPIO_InitStruct.Mode = GPIO_MODE_OUTPUT_PP;
  GPIO_InitStruct.Pull = GPIO_NOPULL;
  GPIO_InitStruct.Speed = GPIO_SPEED_FREQ_HIGH;
  HAL_GPIO_Init(LED1_GPIO_Port, &GPIO_InitStruct);

  /*Configure GPIO pins : QSPI_BK1_IO2_Pin QSPI_BK1_IO3_Pin QSPI_CLK_Pin */
  GPIO_InitStruct.Pin = QSPI_BK1_IO2_Pin|QSPI_BK1_IO3_Pin|QSPI_CLK_Pin;
  GPIO_InitStruct.Mode = GPIO_MODE_AF_PP;
  GPIO_InitStruct.Pull = GPIO_NOPULL;
  GPIO_InitStruct.Speed = GPIO_SPEED_FREQ_VERY_HIGH;
  GPIO_InitStruct.Alternate = GPIO_AF9_QSPI;
  HAL_GPIO_Init(GPIOF, &GPIO_InitStruct);

  /*Configure GPIO pins : QSPI_BK1_IO1_Pin QSPI_BK1_IO0_Pin */
  GPIO_InitStruct.Pin = QSPI_BK1_IO1_Pin|QSPI_BK1_IO0_Pin;
  GPIO_InitStruct.Mode = GPIO_MODE_AF_PP;
  GPIO_InitStruct.Pull = GPIO_NOPULL;
  GPIO_InitStruct.Speed = GPIO_SPEED_FREQ_VERY_HIGH;
  GPIO_InitStruct.Alternate = GPIO_AF10_QSPI;
  HAL_GPIO_Init(GPIOF, &GPIO_InitStruct);

  /*Configure GPIO pin : SDNWE_Pin */
  GPIO_InitStruct.Pin = SDNWE_Pin;
  GPIO_InitStruct.Mode = GPIO_MODE_AF_PP;
  GPIO_InitStruct.Pull = GPIO_NOPULL;
  GPIO_InitStruct.Speed = GPIO_SPEED_FREQ_VERY_HIGH;
  GPIO_InitStruct.Alternate = GPIO_AF12_FMC;
  HAL_GPIO_Init(SDNWE_GPIO_Port, &GPIO_InitStruct);

  /*Configure GPIO pins : OTG_FS1_PowerSwitchOn_Pin EXT_RESET_Pin */
  GPIO_InitStruct.Pin = OTG_FS1_PowerSwitchOn_Pin|EXT_RESET_Pin;
  GPIO_InitStruct.Mode = GPIO_MODE_OUTPUT_PP;
  GPIO_InitStruct.Pull = GPIO_NOPULL;
  GPIO_InitStruct.Speed = GPIO_SPEED_FREQ_LOW;
  HAL_GPIO_Init(GPIOB, &GPIO_InitStruct);

  /*Configure GPIO pin : MIC_CK_Pin */
  GPIO_InitStruct.Pin = MIC_CK_Pin;
  GPIO_InitStruct.Mode = GPIO_MODE_AF_PP;
  GPIO_InitStruct.Pull = GPIO_NOPULL;
  GPIO_InitStruct.Speed = GPIO_SPEED_FREQ_LOW;
  GPIO_InitStruct.Alternate = GPIO_AF2_TIM4;
  HAL_GPIO_Init(MIC_CK_GPIO_Port, &GPIO_InitStruct);

  /*Configure GPIO pin : uSD_Detect_Pin */
  GPIO_InitStruct.Pin = uSD_Detect_Pin;
  GPIO_InitStruct.Mode = GPIO_MODE_INPUT;
  GPIO_InitStruct.Pull = GPIO_NOPULL;
  HAL_GPIO_Init(uSD_Detect_GPIO_Port, &GPIO_InitStruct);

  /*Configure GPIO pin : LCD_INT_Pin */
  GPIO_InitStruct.Pin = LCD_INT_Pin;
  GPIO_InitStruct.Mode = GPIO_MODE_IT_RISING;
  GPIO_InitStruct.Pull = GPIO_NOPULL;
  HAL_GPIO_Init(LCD_INT_GPIO_Port, &GPIO_InitStruct);

  /*Configure GPIO pin : DSI_TE_Pin */
  GPIO_InitStruct.Pin = DSI_TE_Pin;
  GPIO_InitStruct.Mode = GPIO_MODE_AF_PP;
  GPIO_InitStruct.Pull = GPIO_NOPULL;
  GPIO_InitStruct.Speed = GPIO_SPEED_FREQ_LOW;
  GPIO_InitStruct.Alternate = GPIO_AF13_DSI;
  HAL_GPIO_Init(DSI_TE_GPIO_Port, &GPIO_InitStruct);

  /*Configure GPIO pins : STLK_RX_Pin STLK_TX_Pin */
  GPIO_InitStruct.Pin = STLK_RX_Pin|STLK_TX_Pin;
  GPIO_InitStruct.Mode = GPIO_MODE_AF_PP;
  GPIO_InitStruct.Pull = GPIO_NOPULL;
  GPIO_InitStruct.Speed = GPIO_SPEED_FREQ_VERY_HIGH;
  GPIO_InitStruct.Alternate = GPIO_AF7_USART3;
  HAL_GPIO_Init(GPIOB, &GPIO_InitStruct);

  /*Configure GPIO pin : LCD_BL_CTRL_Pin */
  GPIO_InitStruct.Pin = LCD_BL_CTRL_Pin;
  GPIO_InitStruct.Mode = GPIO_MODE_OUTPUT_PP;
  GPIO_InitStruct.Pull = GPIO_NOPULL;
  GPIO_InitStruct.Speed = GPIO_SPEED_FREQ_LOW;
  HAL_GPIO_Init(LCD_BL_CTRL_GPIO_Port, &GPIO_InitStruct);

}

void Error_Handler(void)
{
  __disable_irq();
  while (1)
  {
  }
}
